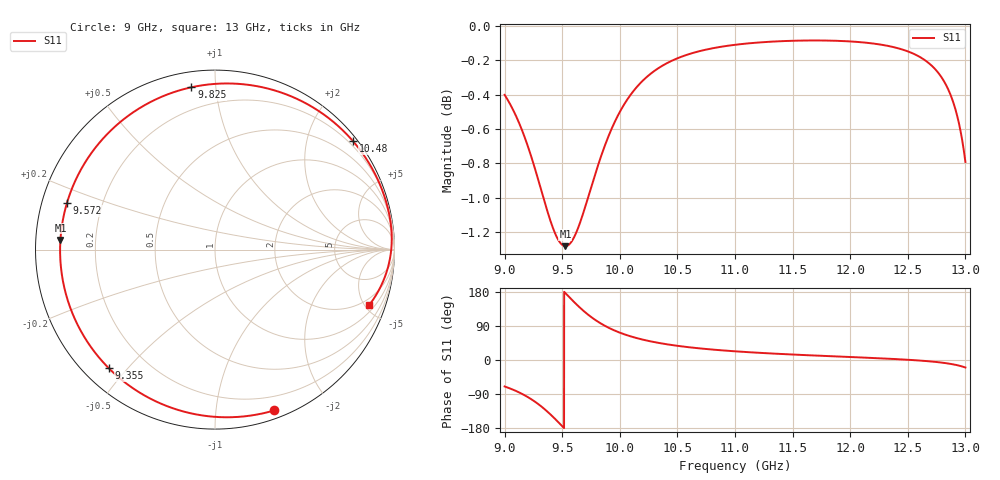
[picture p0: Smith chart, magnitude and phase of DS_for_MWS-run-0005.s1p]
! TOUCHSTONE file generated by CST DESIGN STUDIO
! Date and time: Tue Feb  4 18:23:07 2025
! Project name: C:\Work\MatlabApps\UnitCellOptimizationMatlab\CST\unitcell.cst
! Tree item: Tasks\Sweep1\SPara1\S-Parameters
! Header version: 2024
! Port assignment regex: !\s*Touchstone port\s*([0-9]+)\s*=\s*(CST MWS port|CST DES external port|CST DES block port)\s*(.+)\s* \(\"(.*)\"\)(\s*mode\s*([0-9]+))?.*
! Touchstone port assignment:
! Touchstone port 1 = CST DES external port 1 ("")
# GHz S MA R 50
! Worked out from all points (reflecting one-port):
!   4001 points, 9 GHz to 13 GHz, reference 50 ohm
!   lowest |S11| = -1.3 dB at 9.528 GHz (marker M1), VSWR 13.59, Z = 3.68 + j1.56 ohm
!   phase of S11 starts at -70 deg and turns -310 deg over the sweep
!   S11 on the Smith chart (normalised r, x): 9 GHz: 0.07, -1.43; 9.355 GHz: 0.07, -0.45; 9.572 GHz: 0.07, +0.15; 9.825 GHz: 0.08, +0.86; 10.48 GHz: 0.10, +2.89; 13 GHz: 1.44, -5.35
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9  0.9548 -69.8
9.097  0.9417 -81.5
9.207  0.9215 -98.9
9.284  0.904 -114.5
9.355  0.8871 -131.8
9.434  0.871 -154.2
9.5  0.8637 -174.7
9.528  0.863 176.4
9.572  0.8648 162.5
9.637  0.8733 142.9
9.697  0.8853 126.6
9.758  0.8991 111.9
9.825  0.9138 98.3
9.903  0.929 85.1
10  0.9439 72.2
10.099  0.9554 61.9
10.21  0.9646 53.0
10.336  0.972 45.2
10.482  0.9778 38.2
10.5  0.9784 37.4
10.721  0.9836 29.8
11  0.9873 22.9
11.5  0.9899 14.4
12  0.9895 7.9
12.5  0.9829 0.6
12.799  0.9653 -7.0
12.91  0.9465 -12.4
13  0.9129 -19.8
